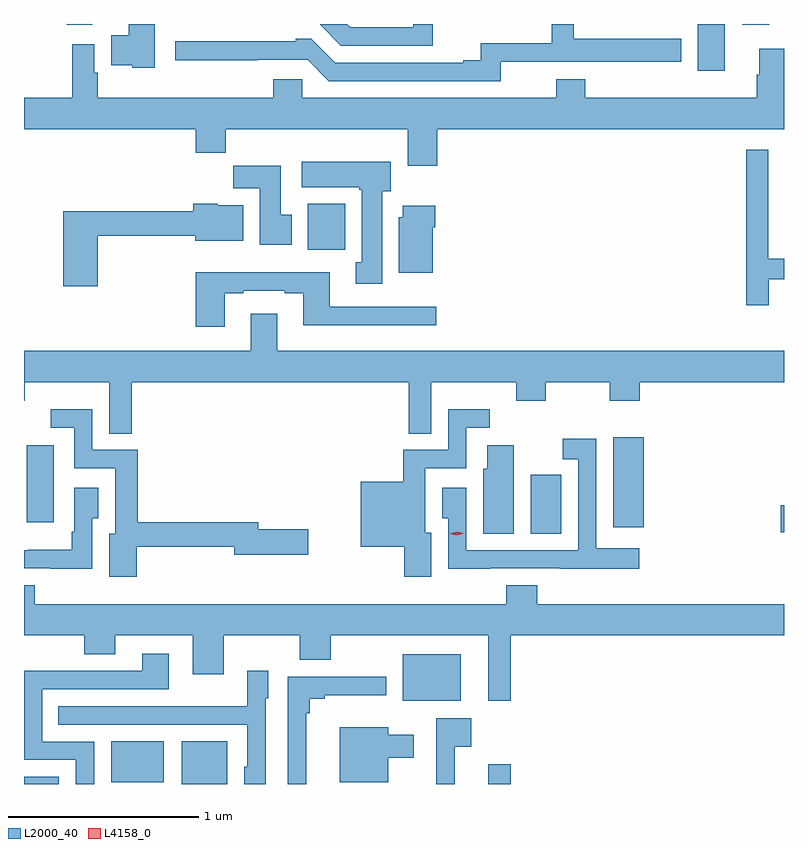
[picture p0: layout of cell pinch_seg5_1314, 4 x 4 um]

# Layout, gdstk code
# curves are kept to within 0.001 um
import gdstk
lib = gdstk.Library(unit=1e-6, precision=1e-09)
def R(c, l, rs):  # rectangles x0, y0, x1, y1
    for r in rs: c.add(gdstk.rectangle(r[:2], r[2:], *l))
def P(c, l, *ps):  # polygons
    for p in ps: c.add(gdstk.Polygon(p, *l))
L2000_40 = (2000, 40)
L4158_0 = (4158, 0)

pinch_seg5_1314 = lib.new_cell('pinch_seg5_1314')
R(pinch_seg5_1314, L2000_40, [(346.5,885.281,346.683,885.318), (347.33,885.281,347.569,885.505), (348.944,885.281,349.061,885.385), (346.958,885.29,347.236,885.505), (348.494,885.719,348.799,885.964), (349.166,886.597,349.327,886.908), (350.484,886.606,350.5,886.748), (349.601,886.632,349.762,887.107), (346.514,886.659,346.657,887.065), (347.993,888.092,348.19,888.334), (350.045,889.034,350.188,889.281), (346.724,889.278,346.858,889.281), (350.279,889.278,350.423,889.281)])
P(pinch_seg5_1314, L2000_40, [(348.65,889.281),(348.548,889.281),(348.548,889.263),(348.219,889.263),(348.201,889.281),(348.06,889.281),(348.06,889.276),(348.168,889.167),(348.65,889.167)],
  [(347.188,889.281),(347.051,889.281),(347.051,889.222),(346.958,889.222),(346.958,889.064),(347.07,889.064),(347.07,889.052),(347.188,889.052)],
  [(349.01,889.082),(349.96,889.082),(349.96,889.204),(349.394,889.204),(349.394,889.281),(349.278,889.281),(349.278,889.179),(348.904,889.179),(348.904,889.09),(348.812,889.09),(348.812,889.077),(348.138,889.077),(348.011,889.204),(347.93,889.204),(347.93,889.189),(347.295,889.189),(347.295,889.091),(347.994,889.092),(348.105,888.981),(349.01,888.981)],
  [(348.674,888.728),(350.5,888.728),(350.5,889.15),(350.369,889.15),(350.369,889.013),(350.357,889.013),(350.357,888.892),(349.454,888.892),(349.454,888.991),(349.301,888.991),(349.301,888.892),(347.964,888.892),(347.964,888.99),(347.813,888.99),(347.813,888.892),(346.888,888.892),(346.888,889.025),(346.869,889.025),(346.869,889.174),(346.753,889.174),(346.753,888.892),(346.5,888.892),(346.5,888.728),(347.405,888.728),(347.405,888.604),(347.561,888.604),(347.561,888.728),(348.521,888.728),(348.521,888.534),(348.674,888.534)],
  [(350.419,887.937),(350.5,887.937),(350.5,888.045),(350.418,888.045),(350.418,888.619),(350.302,888.619),(350.302,887.802),(350.419,887.802)],
  [(348.385,888.402),(348.43,888.402),(348.43,888.556),(347.961,888.556),(347.961,888.422),(348.265,888.422),(348.265,888.409),(348.278,888.409),(348.278,888.026),(348.245,888.026),(348.245,887.913),(348.385,887.913)],
  [(347.908,888.276),(347.851,888.276),(347.851,888.535),(347.602,888.535),(347.602,888.416),(347.741,888.416),(347.741,888.12),(347.908,888.12)],
  [(346.889,888.166),(347.402,888.166),(347.402,888.14),(347.653,888.14),(347.653,888.328),(347.52,888.328),(347.52,888.334),(347.39,888.334),(347.39,888.295),(346.706,888.295),(346.706,887.901),(346.889,887.901)],
  [(348.652,888.212),(348.665,888.212),(348.665,888.325),(348.494,888.325),(348.494,888.264),(348.473,888.264),(348.473,887.972),(348.652,887.972)],
  [(347.557,887.865),(347.653,887.865),(347.653,887.877),(347.873,887.877),(347.873,887.865),(347.969,887.865),(347.969,887.696),(348.67,887.696),(348.67,887.793),(348.109,887.793),(348.109,887.974),(347.405,887.974),(347.405,887.688),(347.557,887.688)],
  [(347.068,887.396),(348.525,887.396),(348.525,887.125),(348.643,887.125),(348.643,887.396),(349.09,887.396),(349.09,887.297),(349.245,887.297),(349.245,887.396),(349.582,887.396),(349.582,887.297),(349.742,887.297),(349.742,887.396),(350.5,887.396),(350.5,887.56),(347.833,887.56),(347.833,887.755),(347.693,887.755),(347.693,887.56),(346.5,887.56),(346.5,887.297),(346.503,887.297),(346.503,887.396),(346.949,887.396),(346.949,887.125),(347.068,887.125)],
  [(347.093,886.53),(347.606,886.53),(347.606,886.487),(347.995,886.487),(347.995,886.622),(347.734,886.622),(347.734,886.658),(347.098,886.658),(347.098,887.04),(346.86,887.04),(346.86,887.254),(346.641,887.254),(346.641,887.157),(346.764,887.157),(346.764,886.944),(346.979,886.944),(346.979,886.599),(346.949,886.599),(346.949,886.371),(347.093,886.371)],
  [(348.643,886.603),(348.613,886.603),(348.613,886.944),(348.828,886.944),(348.828,887.157),(348.952,887.157),(348.952,887.254),(348.732,887.254),(348.732,887.04),(348.495,887.04),(348.495,886.873),(348.272,886.873),(348.272,886.529),(348.5,886.529),(348.5,886.371),(348.643,886.371)],
  [(348.953,886.416),(349.319,886.416),(349.319,886.415),(349.738,886.415),(349.738,886.522),(349.512,886.522),(349.512,887.098),(349.335,887.098),(349.335,886.989),(349.416,886.989),(349.416,886.512),(348.828,886.512),(348.828,886.84),(348.701,886.84),(348.701,886.681),(348.732,886.681),(348.732,886.415),(348.953,886.415)],
  [(349.078,887.065),(348.938,887.065),(348.938,886.941),(348.917,886.941),(348.917,886.597),(349.078,886.597)],
  [(346.86,886.681),(346.891,886.681),(346.891,886.84),(346.764,886.84),(346.764,886.609),(346.752,886.609),(346.752,886.513),(346.522,886.513),(346.522,886.512),(346.5,886.512),(346.5,886.416),(346.639,886.416),(346.639,886.415),(346.86,886.415)],
  [(346.556,886.327),(346.5,886.327),(346.5,886.064),(346.817,886.064),(346.817,885.965),(346.981,885.965),(346.981,886.064),(347.387,886.064),(347.387,885.858),(347.551,885.858),(347.551,886.064),(347.951,886.064),(347.951,885.936),(348.115,885.936),(348.115,886.064),(348.944,886.064),(348.944,885.72),(349.061,885.72),(349.061,886.064),(350.5,886.064),(350.5,886.228),(349.202,886.228),(349.202,886.327),(349.037,886.327),(349.037,886.228),(346.556,886.228)],
  [(346.869,885.504),(346.596,885.504),(346.596,885.78),(347.263,885.78),(347.263,885.967),(347.123,885.967),(347.123,885.876),(346.693,885.876),(346.693,885.878),(346.5,885.878),(346.5,885.408),(346.773,885.408),(346.773,885.281),(346.869,885.281)],
  [(347.772,885.732),(347.785,885.732),(347.785,885.877),(347.676,885.877),(347.676,885.691),(347.359,885.691),(347.359,885.69),(346.681,885.69),(346.681,885.594),(347.676,885.594),(347.676,885.372),(347.66,885.372),(347.66,885.281),(347.772,885.281)],
  [(347.986,885.653),(348.005,885.653),(348.005,885.73),(348.082,885.73),(348.082,885.749),(348.406,885.749),(348.406,885.846),(347.889,885.846),(347.889,885.281),(347.986,885.281)],
  [(348.767,885.476),(348.853,885.476),(348.853,885.628),(348.669,885.628),(348.669,885.281),(348.767,885.281)],
  [(348.418,885.419),(348.55,885.419),(348.55,885.541),(348.418,885.541),(348.418,885.58),(348.161,885.58),(348.161,885.29),(348.418,885.29)])
P(pinch_seg5_1314, L4158_0, [(348.778,886.59),(348.742,886.598),(348.742,886.598),(348.742,886.599),(348.778,886.609),(348.814,886.601),(348.814,886.601),(348.814,886.6)])

lib.write_gds('pinch_seg5_1314.gds')
